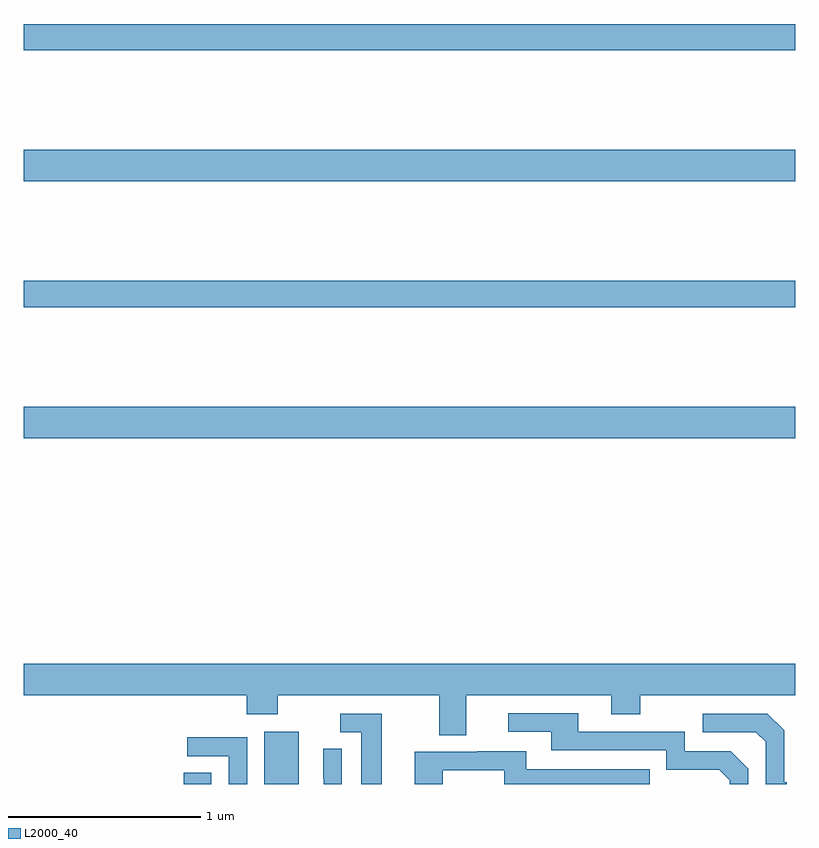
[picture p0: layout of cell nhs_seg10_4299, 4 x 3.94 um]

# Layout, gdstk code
import gdstk
lib = gdstk.Library(unit=1e-6, precision=1e-09)
def R(c, l, rs):  # rectangles x0, y0, x1, y1
    for r in rs: c.add(gdstk.rectangle(r[:2], r[2:], *l))
def P(c, l, *ps):  # polygons
    for p in ps: c.add(gdstk.Polygon(p, *l))
L2000_40 = (2000, 40)

nhs_seg10_4299 = lib.new_cell('nhs_seg10_4299')
R(nhs_seg10_4299, L2000_40, [(351.83,1322.5,351.973,1322.558), (352.247,1322.5,352.426,1322.77), (351,1324.292,355,1324.456), (351,1324.972,355,1325.108), (351,1325.624,355,1325.788), (351,1326.304,355,1326.44)])
P(nhs_seg10_4299, L2000_40, [(353.293,1322.96),(354.047,1322.96),(354.047,1322.861),(354.195,1322.861),(354.195,1322.96),(355,1322.96),(355,1323.124),(351,1323.124),(351,1322.96),(352.157,1322.96),(352.157,1322.861),(352.317,1322.861),(352.317,1322.96),(353.153,1322.96),(353.153,1322.752),(353.293,1322.752)],
  [(354.756,1322.58),(354.666,1322.67),(354.426,1322.67),(354.426,1322.772),(353.875,1322.772),(353.875,1322.868),(353.511,1322.868),(353.511,1322.772),(353.735,1322.772),(353.735,1322.676),(354.33,1322.676),(354.33,1322.573),(354.607,1322.573),(354.66,1322.52),(354.66,1322.5),(354.756,1322.5)],
  [(354.955,1322.509),(354.942,1322.509),(354.942,1322.778),(354.855,1322.865),(354.519,1322.865),(354.519,1322.769),(354.795,1322.769),(354.846,1322.718),(354.846,1322.5),(354.955,1322.5)],
  [(352.855,1322.865),(352.641,1322.865),(352.641,1322.769),(352.751,1322.769),(352.751,1322.5),(352.855,1322.5)],
  [(352.158,1322.742),(351.849,1322.742),(351.849,1322.643),(352.062,1322.643),(352.062,1322.5),(352.158,1322.5)],
  [(352.65,1322.684),(352.554,1322.684),(352.554,1322.53),(352.556,1322.53),(352.556,1322.5),(352.65,1322.5)],
  [(353.172,1322.571),(353.49,1322.571),(353.49,1322.5),(354.245,1322.5),(354.245,1322.577),(353.605,1322.577),(353.605,1322.671),(353.351,1322.671),(353.351,1322.667),(353.027,1322.667),(353.027,1322.5),(353.172,1322.5)])

lib.write_gds('nhs_seg10_4299.gds')
